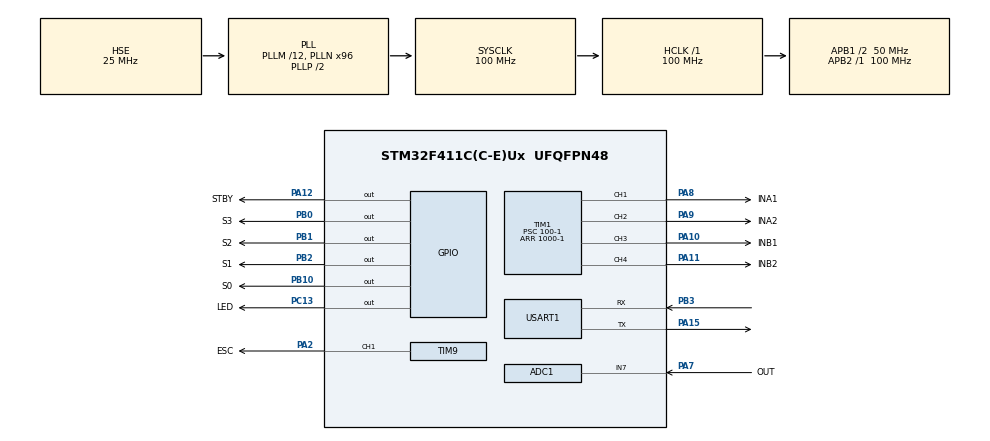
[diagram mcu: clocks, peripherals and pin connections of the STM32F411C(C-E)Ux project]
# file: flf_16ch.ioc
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ADC1.Channel-2\#ChannelRegularConversion=ADC_CHANNEL_7
ADC1.ExternalTrigConv=ADC_SOFTWARE_START
ADC1.NbrOfConversionFlag=1
ADC1.Rank-2\#ChannelRegularConversion=1
ADC1.SamplingTime-2\#ChannelRegularConversion=ADC_SAMPLETIME_84CYCLES
ADC1.master=1
Dma.ADC1.0.Direction=DMA_PERIPH_TO_MEMORY
Dma.ADC1.0.FIFOMode=DMA_FIFOMODE_DISABLE
Dma.ADC1.0.Instance=DMA2_Stream0
Dma.ADC1.0.MemDataAlignment=DMA_MDATAALIGN_HALFWORD
Dma.ADC1.0.MemInc=DMA_MINC_ENABLE
Dma.ADC1.0.Mode=DMA_CIRCULAR
Dma.ADC1.0.PeriphDataAlignment=DMA_PDATAALIGN_HALFWORD
Dma.ADC1.0.PeriphInc=DMA_PINC_DISABLE
Dma.ADC1.0.Priority=DMA_PRIORITY_LOW
Dma.Request0=ADC1
Mcu.Family=STM32F4
Mcu.Name=STM32F411C(C-E)Ux
Mcu.Package=UFQFPN48
NVIC.ADC_IRQn=true\:0\:0\:false\:false\:true\:true\:true\:true
NVIC.DMA2_Stream0_IRQn=true\:0\:0\:false\:false\:true\:false\:true\:true
NVIC.PriorityGroup=NVIC_PRIORITYGROUP_4
NVIC.TIM3_IRQn=true\:0\:0\:false\:false\:true\:true\:true\:true
NVIC.TIM4_IRQn=true\:0\:0\:false\:false\:true\:true\:true\:true
PA10.GPIO_Label=INB1
PA10.Signal=S_TIM1_CH3
PA11.GPIO_Label=INB2
PA11.Signal=S_TIM1_CH4
PA12.GPIO_Label=STBY
PA12.PinState=GPIO_PIN_RESET
PA12.Signal=GPIO_Output
PA15.Mode=Asynchronous
PA15.Signal=USART1_TX
PA2.GPIO_Label=ESC
PA2.Signal=S_TIM9_CH1
PA7.GPIO_Label=OUT
PA7.Signal=ADCx_IN7
PA8.GPIO_Label=INA1
PA8.Signal=S_TIM1_CH1
PA9.GPIO_Label=INA2
PA9.Signal=S_TIM1_CH2
PB0.GPIO_Label=S3
PB0.Signal=GPIO_Output
PB1.GPIO_Label=S2
PB1.Signal=GPIO_Output
PB10.GPIO_Label=S0
PB10.Signal=GPIO_Output
PB2.GPIO_Label=S1
PB2.Signal=GPIO_Output
PB3.Mode=Asynchronous
PB3.Signal=USART1_RX
PC13-ANTI_TAMP.GPIO_Label=LED
PC13-ANTI_TAMP.PinState=GPIO_PIN_SET
PC13-ANTI_TAMP.Signal=GPIO_Output
PH0\ -\ OSC_IN.Mode=HSE-External-Oscillator
PH0\ -\ OSC_IN.Signal=RCC_OSC_IN
PH1\ -\ OSC_OUT.Mode=HSE-External-Oscillator
PH1\ -\ OSC_OUT.Signal=RCC_OSC_OUT
ProjectManager.HeapSize=0x200
ProjectManager.StackSize=0x400
ProjectManager.TargetToolchain=STM32CubeIDE
RCC.48MHZClocksFreq_Value=50000000
RCC.AHBFreq_Value=100000000
RCC.APB1CLKDivider=RCC_HCLK_DIV2
RCC.APB1Freq_Value=50000000
RCC.APB1TimFreq_Value=100000000
RCC.APB2Freq_Value=100000000
RCC.APB2TimFreq_Value=100000000
RCC.CortexFreq_Value=100000000
RCC.HCLKFreq_Value=100000000
RCC.HSE_VALUE=25000000
RCC.HSI_VALUE=16000000
RCC.LSE_VALUE=32768
RCC.PLLM=12
RCC.PLLN=96
RCC.PLLSourceVirtual=RCC_PLLSOURCE_HSE
RCC.SYSCLKFreq_VALUE=100000000
RCC.SYSCLKSource=RCC_SYSCLKSOURCE_PLLCLK
RCC.VCOOutputFreq_Value=200000000
SH.ADCx_IN7.0=ADC1_IN7,IN7
SH.S_TIM1_CH1.0=TIM1_CH1,PWM Generation1 CH1
SH.S_TIM1_CH2.0=TIM1_CH2,PWM Generation2 CH2
SH.S_TIM1_CH3.0=TIM1_CH3,PWM Generation3 CH3
SH.S_TIM1_CH4.0=TIM1_CH4,PWM Generation4 CH4
SH.S_TIM9_CH1.0=TIM9_CH1,PWM Generation1 CH1
TIM1.AutoReloadPreload=TIM_AUTORELOAD_PRELOAD_ENABLE
TIM1.Channel-PWM\ Generation1\ CH1=TIM_CHANNEL_1
TIM1.Channel-PWM\ Generation2\ CH2=TIM_CHANNEL_2
TIM1.Channel-PWM\ Generation3\ CH3=TIM_CHANNEL_3
TIM1.Channel-PWM\ Generation4\ CH4=TIM_CHANNEL_4
TIM1.Period=1000-1
TIM1.Prescaler=100-1
TIM3.AutoReloadPreload=TIM_AUTORELOAD_PRELOAD_ENABLE
TIM3.Period=100-1
TIM3.Prescaler=100-1
TIM4.AutoReloadPreload=TIM_AUTORELOAD_PRELOAD_ENABLE
TIM4.Period=2000-1
TIM4.Prescaler=100-1
TIM9.Channel-PWM\ Generation1\ CH1=TIM_CHANNEL_1
TIM9.Period=20000-1
TIM9.Prescaler=100-1
USART1.VirtualMode=VM_ASYNC
VP_TIM1_VS_ClockSourceINT.Mode=Internal
VP_TIM3_VS_ClockSourceINT.Mode=Internal
VP_TIM4_VS_ClockSourceINT.Mode=Internal
VP_TIM9_VS_ClockSourceINT.Mode=Internal
board=custom

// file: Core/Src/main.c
/* USER CODE BEGIN Header */
/**
  ******************************************************************************
  * @file           : main.c
  * @brief          : Main program body
  ******************************************************************************
  * @attention
  *
  * Copyright (c) 2025 STMicroelectronics.
  * All rights reserved.
  *
  * This software is licensed under terms that can be found in the LICENSE file
  * in the root directory of this software component.
  * If no LICENSE file comes with this software, it is provided AS-IS.
  *
  ******************************************************************************
  */
/* USER CODE END Header */
#include "main.h"

/* USER CODE BEGIN Includes */
#include <stdio.h>
#include <string.h>

/* USER CODE END Includes */

ADC_HandleTypeDef hadc1;
DMA_HandleTypeDef hdma_adc1;

TIM_HandleTypeDef htim1;
TIM_HandleTypeDef htim3;
TIM_HandleTypeDef htim4;
TIM_HandleTypeDef htim9;

UART_HandleTypeDef huart1;

/* USER CODE BEGIN PV */

#define NUM_SENSORS 16
#define CALIB_SAMPLES 50
#define MAX(a, b) ((a) > (b) ? (a) : (b))
#define MIN(a, b) ((a) < (b) ? (a) : (b))

#define BASE_SPEED 500         // Base PWM value
#define MAX_SPEED 900          // Maximum PWM value
#define MIN_SPEED 300          // Minimum PWM value

#define KP 20.0f
#define KI 0.0f
#define KD 0.0f

volatile float integral = 0.0f;
volatile float last_error = 0.0f;
volatile int16_t current_position = 0;
volatile uint8_t line_detected = 0;

volatile uint16_t adc_buffers[2][NUM_SENSORS] = {0};
volatile uint16_t *adc_buffer_ptrs[2] = {
    adc_buffers[0],
    adc_buffers[1]
};
volatile uint8_t adc_buffer_write_ptr_index = 0;
volatile uint8_t adc_buffer_read_ptr_index = 1;
volatile uint8_t current_sensor_index = 0;
volatile uint16_t adc_dma_single_value;
const uint16_t sensor_weights[16] = {-7, -6, -5, -4, -3, -2, -1, 0, 1, 2, 3, 4, 5, 6, 7,0};
volatile uint16_t sensor_thresholds[16]= {0};
const float dt = 0.002f;

volatile uint8_t is_running=0;

/* USER CODE END PV */

void SystemClock_Config(void);
static void MX_GPIO_Init(void);
static void MX_DMA_Init(void);
static void MX_ADC1_Init(void);
static void MX_TIM1_Init(void);
static void MX_TIM3_Init(void);
static void MX_USART1_UART_Init(void);
static void MX_TIM4_Init(void);
static void MX_TIM9_Init(void);

/* USER CODE BEGIN 0 */

void setMuxChannel(uint8_t ch)
{
    if(ch >= 16) return;

    switch(ch)
    {
        case 0:
            HAL_GPIO_WritePin(GPIOB, S0_Pin, GPIO_PIN_RESET);
            HAL_GPIO_WritePin(GPIOB, S1_Pin, GPIO_PIN_RESET);
            HAL_GPIO_WritePin(GPIOB, S2_Pin, GPIO_PIN_RESET);
            HAL_GPIO_WritePin(GPIOB, S3_Pin, GPIO_PIN_RESET);
            break;

        case 1:
            HAL_GPIO_WritePin(GPIOB, S0_Pin, GPIO_PIN_SET);
            HAL_GPIO_WritePin(GPIOB, S1_Pin, GPIO_PIN_RESET);
            HAL_GPIO_WritePin(GPIOB, S2_Pin, GPIO_PIN_RESET);
            HAL_GPIO_WritePin(GPIOB, S3_Pin, GPIO_PIN_RESET);
            break;

        case 2:
            HAL_GPIO_WritePin(GPIOB, S0_Pin, GPIO_PIN_RESET);
            HAL_GPIO_WritePin(GPIOB, S1_Pin, GPIO_PIN_SET);
            HAL_GPIO_WritePin(GPIOB, S2_Pin, GPIO_PIN_RESET);
            HAL_GPIO_WritePin(GPIOB, S3_Pin, GPIO_PIN_RESET);
            break;

        case 3:
            HAL_GPIO_WritePin(GPIOB, S0_Pin, GPIO_PIN_SET);
            HAL_GPIO_WritePin(GPIOB, S1_Pin, GPIO_PIN_SET);
            HAL_GPIO_WritePin(GPIOB, S2_Pin, GPIO_PIN_RESET);
            HAL_GPIO_WritePin(GPIOB, S3_Pin, GPIO_PIN_RESET);
            break;

        case 4:
            HAL_GPIO_WritePin(GPIOB, S0_Pin, GPIO_PIN_RESET);
            HAL_GPIO_WritePin(GPIOB, S1_Pin, GPIO_PIN_RESET);
            HAL_GPIO_WritePin(GPIOB, S2_Pin, GPIO_PIN_SET);
            HAL_GPIO_WritePin(GPIOB, S3_Pin, GPIO_PIN_RESET);
            break;

        case 5:
            HAL_GPIO_WritePin(GPIOB, S0_Pin, GPIO_PIN_SET);
            HAL_GPIO_WritePin(GPIOB, S1_Pin, GPIO_PIN_RESET);
            HAL_GPIO_WritePin(GPIOB, S2_Pin, GPIO_PIN_SET);
            HAL_GPIO_WritePin(GPIOB, S3_Pin, GPIO_PIN_RESET);
            break;

        case 6:
            HAL_GPIO_WritePin(GPIOB, S0_Pin, GPIO_PIN_RESET);
            HAL_GPIO_WritePin(GPIOB, S1_Pin, GPIO_PIN_SET);
            HAL_GPIO_WritePin(GPIOB, S2_Pin, GPIO_PIN_SET);
            HAL_GPIO_WritePin(GPIOB, S3_Pin, GPIO_PIN_RESET);
            break;

        case 7:
            HAL_GPIO_WritePin(GPIOB, S0_Pin, GPIO_PIN_SET);
            HAL_GPIO_WritePin(GPIOB, S1_Pin, GPIO_PIN_SET);
            HAL_GPIO_WritePin(GPIOB, S2_Pin, GPIO_PIN_SET);
            HAL_GPIO_WritePin(GPIOB, S3_Pin, GPIO_PIN_RESET);
            break;

        case 8:
            HAL_GPIO_WritePin(GPIOB, S0_Pin, GPIO_PIN_RESET);
            HAL_GPIO_WritePin(GPIOB, S1_Pin, GPIO_PIN_RESET);
            HAL_GPIO_WritePin(GPIOB, S2_Pin, GPIO_PIN_RESET);
            HAL_GPIO_WritePin(GPIOB, S3_Pin, GPIO_PIN_SET);
            break;

        case 9:
            HAL_GPIO_WritePin(GPIOB, S0_Pin, GPIO_PIN_SET);
            HAL_GPIO_WritePin(GPIOB, S1_Pin, GPIO_PIN_RESET);
            HAL_GPIO_WritePin(GPIOB, S2_Pin, GPIO_PIN_RESET);
            HAL_GPIO_WritePin(GPIOB, S3_Pin, GPIO_PIN_SET);
            break;

        case 10:
            HAL_GPIO_WritePin(GPIOB, S0_Pin, GPIO_PIN_RESET);
            HAL_GPIO_WritePin(GPIOB, S1_Pin, GPIO_PIN_SET);
            HAL_GPIO_WritePin(GPIOB, S2_Pin, GPIO_PIN_RESET);
            HAL_GPIO_WritePin(GPIOB, S3_Pin, GPIO_PIN_SET);
            break;

        case 11:
            HAL_GPIO_WritePin(GPIOB, S0_Pin, GPIO_PIN_SET);
            HAL_GPIO_WritePin(GPIOB, S1_Pin, GPIO_PIN_SET);
            HAL_GPIO_WritePin(GPIOB, S2_Pin, GPIO_PIN_RESET);
            HAL_GPIO_WritePin(GPIOB, S3_Pin, GPIO_PIN_SET);
            break;

        case 12:
            HAL_GPIO_WritePin(GPIOB, S0_Pin, GPIO_PIN_RESET);
            HAL_GPIO_WritePin(GPIOB, S1_Pin, GPIO_PIN_RESET);
            HAL_GPIO_WritePin(GPIOB, S2_Pin, GPIO_PIN_SET);
            HAL_GPIO_WritePin(GPIOB, S3_Pin, GPIO_PIN_SET);
            break;

        case 13:
            HAL_GPIO_WritePin(GPIOB, S0_Pin, GPIO_PIN_SET);
            HAL_GPIO_WritePin(GPIOB, S1_Pin, GPIO_PIN_RESET);
            HAL_GPIO_WritePin(GPIOB, S2_Pin, GPIO_PIN_SET);
            HAL_GPIO_WritePin(GPIOB, S3_Pin, GPIO_PIN_SET);
            break;

        case 14:
            HAL_GPIO_WritePin(GPIOB, S0_Pin, GPIO_PIN_RESET);
            HAL_GPIO_WritePin(GPIOB, S1_Pin, GPIO_PIN_SET);
            HAL_GPIO_WritePin(GPIOB, S2_Pin, GPIO_PIN_SET);
            HAL_GPIO_WritePin(GPIOB, S3_Pin, GPIO_PIN_SET);
            break;

        case 15:
            HAL_GPIO_WritePin(GPIOB, S0_Pin, GPIO_PIN_SET);
            HAL_GPIO_WritePin(GPIOB, S1_Pin, GPIO_PIN_SET);
            HAL_GPIO_WritePin(GPIOB, S2_Pin, GPIO_PIN_SET);
            HAL_GPIO_WritePin(GPIOB, S3_Pin, GPIO_PIN_SET);
            break;

        default:
            break;
    }
}

int16_t calculate_line_position(void) {
    uint32_t weighted_sum = 0;
    uint8_t sensors_on_line = 0;

    volatile uint16_t *sensor_data = adc_buffer_ptrs[adc_buffer_read_ptr_index];

    for(int i = 0; i < NUM_SENSORS; i++) {
        if(sensor_data[i] > sensor_thresholds[i]) {
        	weighted_sum+=sensor_weights[i];
        	sensors_on_line++;
        }
    }

    if (!sensors_on_line){
    	line_detected=0;
    }
    else{
    	line_detected=1;
    }

    return weighted_sum/sensors_on_line;
}

void set_motor_speeds(int16_t speed1, int16_t speed2) {
    uint16_t pwm1, pwm2;

    if(speed1 >= 0) {
        pwm1 = (uint16_t)MIN(speed1, 999);
        __HAL_TIM_SET_COMPARE(&htim1, TIM_CHANNEL_1, pwm1);
        __HAL_TIM_SET_COMPARE(&htim1, TIM_CHANNEL_2, 0);
    } else {
        pwm1 = (uint16_t)MIN(-speed1, 999);
        __HAL_TIM_SET_COMPARE(&htim1, TIM_CHANNEL_1, 0);
        __HAL_TIM_SET_COMPARE(&htim1, TIM_CHANNEL_2, pwm1);
    }

    if(speed2 >= 0) {
        pwm2 = (uint16_t)MIN(speed2, 999);
        __HAL_TIM_SET_COMPARE(&htim1, TIM_CHANNEL_3, pwm2);
        __HAL_TIM_SET_COMPARE(&htim1, TIM_CHANNEL_4, 0);
    } else {
        pwm2 = (uint16_t)MIN(-speed2, 999);
        __HAL_TIM_SET_COMPARE(&htim1, TIM_CHANNEL_3, 0);
        __HAL_TIM_SET_COMPARE(&htim1, TIM_CHANNEL_4, pwm2);
    }
}

void main_pid_loop(void) {
	if (!is_running){
		return;
	}

	int16_t left_speed, right_speed;

    current_position = calculate_line_position();

    float error = (float)current_position;

    float proportional = KP * error;

    integral += error*dt;

    if(integral > 1000.0f) integral = 1000.0f;
    if(integral < -1000.0f) integral = -1000.0f;
    float integral_term = KI * integral;

    float derivative = KD * (error - last_error) / dt;
    last_error = error;

    float pid_output = proportional + integral_term + derivative;

    if(!line_detected) {
    	integral = 0.0f;
        if(current_position > 0) {
            left_speed = BASE_SPEED / 2;
            right_speed = -BASE_SPEED / 2;
        } else {
            left_speed = -BASE_SPEED / 2;
            right_speed = BASE_SPEED / 2;
        }
    } else {
        left_speed = BASE_SPEED - (int16_t)pid_output;
        right_speed = BASE_SPEED + (int16_t)pid_output;
        left_speed = MAX(MIN_SPEED, MIN(left_speed, MAX_SPEED));
        right_speed = MAX(MIN_SPEED, MIN(right_speed, MAX_SPEED));
    }

    set_motor_speeds(left_speed, right_speed);

}

void send_ir_data(void){
    char buffer[256];

    snprintf(buffer, sizeof(buffer),
             "%u,%u,%u,%u,%u,%u,%u,%u,%u,%u,%u,%u,%u,%u,%u,%u\r\n",
			 sensor_thresholds[0], sensor_thresholds[1], sensor_thresholds[2], sensor_thresholds[3],
			 sensor_thresholds[4], sensor_thresholds[5], sensor_thresholds[6], sensor_thresholds[7],
			 sensor_thresholds[8], sensor_thresholds[9], sensor_thresholds[10], sensor_thresholds[11],
			 sensor_thresholds[12], sensor_thresholds[13], sensor_thresholds[14], sensor_thresholds[15]);

    HAL_UART_Transmit(&huart1, (uint8_t*)buffer, strlen(buffer), HAL_MAX_DELAY);
}

void calibrate(void){
	    int calib_data[CALIB_SAMPLES][NUM_SENSORS];
	    int i, j;

	    set_motor_speeds(700,-700);
	    for (i = 0; i < CALIB_SAMPLES; i++) {
	        for (j = 0; j < NUM_SENSORS; j++) {
	            calib_data[i][j] = adc_buffer_ptrs[adc_buffer_read_ptr_index][j];
	            HAL_Delay(10);
	        }
	        HAL_Delay(10);
	    }
	    set_motor_speeds(0,0);

	    for (j = 0; j < NUM_SENSORS; j++) {
	        int min_val = 4095;
	        int max_val = 0;

	        for (i = 0; i < CALIB_SAMPLES; i++) {
	            int value = calib_data[i][j];

	            if (value < min_val) min_val = value;
	            if (value > max_val) max_val = value;
	        }

	        sensor_thresholds[j] = (min_val + max_val) / 2;
	    }
	}

void reset_pid_variables(void) {
    integral = 0.0f;
    last_error = 0.0f;
    current_position = 0;
    line_detected = 0;
}

void init_all_variables(void) {
    integral = 0.0f;
    last_error = 0.0f;
    current_position = 0;
    line_detected = 0;

    is_running = 0;

    adc_buffer_write_ptr_index = 0;
    adc_buffer_read_ptr_index = 1;
    current_sensor_index = 0;
    adc_dma_single_value = 0;

    for(int i = 0; i < 2; i++) {
        for(int j = 0; j < NUM_SENSORS; j++) {
            adc_buffers[i][j] = 0;
        }
    }

    for(int i = 0; i < NUM_SENSORS; i++) {
        sensor_thresholds[i] = 2047;
    }

    adc_buffer_ptrs[0] = adc_buffers[0];
    adc_buffer_ptrs[1] = adc_buffers[1];
}

void HAL_TIM_PeriodElapsedCallback(TIM_HandleTypeDef* htim)
{
    if(htim->Instance == TIM3)
    {
        HAL_ADC_Start_DMA(&hadc1, (uint32_t*)&adc_dma_single_value, 1);
    }
    else if(htim->Instance == TIM4)
    {
    	main_pid_loop();
    }
}

void HAL_ADC_ConvCpltCallback(ADC_HandleTypeDef* hadc)
{
    if(hadc->Instance == ADC1)
    {
        adc_buffer_ptrs[adc_buffer_write_ptr_index][current_sensor_index] = adc_dma_single_value;

        current_sensor_index++;

        if(current_sensor_index >= NUM_SENSORS)
        {

            current_sensor_index = 0;

            adc_buffer_write_ptr_index ^= 1;
            adc_buffer_read_ptr_index ^= 1;
        }

        setMuxChannel(current_sensor_index);
    }
}

void HAL_GPIO_EXTI_Callback(uint16_t GPIO_Pin)
{

}

/* USER CODE END 0 */

int main(void)
{

  /* USER CODE BEGIN 1 */
	init_all_variables();
	setMuxChannel(0);

  /* USER CODE END 1 */

  /* MCU Configuration--------------------------------------------------------*/

  /* Reset of all peripherals, Initializes the Flash interface and the Systick. */
  HAL_Init();

  /* Configure the system clock */
  SystemClock_Config();

  /* Initialize all configured peripherals */
  MX_GPIO_Init();
  MX_DMA_Init();
  MX_ADC1_Init();
  MX_TIM1_Init();
  MX_TIM3_Init();
  MX_USART1_UART_Init();
  MX_TIM4_Init();
  MX_TIM9_Init();
  /* USER CODE BEGIN 2 */

  HAL_TIM_Base_Start_IT(&htim3);
  HAL_TIM_Base_Start_IT(&htim4);
  HAL_TIM_PWM_Start(&htim1, TIM_CHANNEL_1);
  HAL_TIM_PWM_Start(&htim1, TIM_CHANNEL_2);
  HAL_TIM_PWM_Start(&htim1, TIM_CHANNEL_3);
  HAL_TIM_PWM_Start(&htim1, TIM_CHANNEL_4);

  HAL_Delay(5000);
  HAL_GPIO_WritePin(STBY_GPIO_Port,STBY_Pin,GPIO_PIN_SET);
  calibrate();

  HAL_Delay(10000);
  send_ir_data();
  /* USER CODE END 2 */

  /* Infinite loop */
  while (1)
  {

  }
}

void SystemClock_Config(void)
{
  RCC_OscInitTypeDef RCC_OscInitStruct = {0};
  RCC_ClkInitTypeDef RCC_ClkInitStruct = {0};

  /** Configure the main internal regulator output voltage
  */
  __HAL_RCC_PWR_CLK_ENABLE();
  __HAL_PWR_VOLTAGESCALING_CONFIG(PWR_REGULATOR_VOLTAGE_SCALE1);

  /** Initializes the RCC Oscillators according to the specified parameters
  * in the RCC_OscInitTypeDef structure.
  */
  RCC_OscInitStruct.OscillatorType = RCC_OSCILLATORTYPE_HSE;
  RCC_OscInitStruct.HSEState = RCC_HSE_ON;
  RCC_OscInitStruct.PLL.PLLState = RCC_PLL_ON;
  RCC_OscInitStruct.PLL.PLLSource = RCC_PLLSOURCE_HSE;
  RCC_OscInitStruct.PLL.PLLM = 12;
  RCC_OscInitStruct.PLL.PLLN = 96;
  RCC_OscInitStruct.PLL.PLLP = RCC_PLLP_DIV2;
  RCC_OscInitStruct.PLL.PLLQ = 4;
  if (HAL_RCC_OscConfig(&RCC_OscInitStruct) != HAL_OK)
  {
    Error_Handler();
  }

  /** Initializes the CPU, AHB and APB buses clocks
  */
  RCC_ClkInitStruct.ClockType = RCC_CLOCKTYPE_HCLK|RCC_CLOCKTYPE_SYSCLK
                              |RCC_CLOCKTYPE_PCLK1|RCC_CLOCKTYPE_PCLK2;
  RCC_ClkInitStruct.SYSCLKSource = RCC_SYSCLKSOURCE_PLLCLK;
  RCC_ClkInitStruct.AHBCLKDivider = RCC_SYSCLK_DIV1;
  RCC_ClkInitStruct.APB1CLKDivider = RCC_HCLK_DIV2;
  RCC_ClkInitStruct.APB2CLKDivider = RCC_HCLK_DIV1;

  if (HAL_RCC_ClockConfig(&RCC_ClkInitStruct, FLASH_LATENCY_3) != HAL_OK)
  {
    Error_Handler();
  }
}

static void MX_ADC1_Init(void)
{

  ADC_ChannelConfTypeDef sConfig = {0};

  /** Configure the global features of the ADC (Clock, Resolution, Data Alignment and number of conversion)
  */
  hadc1.Instance = ADC1;
  hadc1.Init.ClockPrescaler = ADC_CLOCK_SYNC_PCLK_DIV4;
  hadc1.Init.Resolution = ADC_RESOLUTION_12B;
  hadc1.Init.ScanConvMode = DISABLE;
  hadc1.Init.ContinuousConvMode = DISABLE;
  hadc1.Init.DiscontinuousConvMode = DISABLE;
  hadc1.Init.ExternalTrigConvEdge = ADC_EXTERNALTRIGCONVEDGE_NONE;
  hadc1.Init.ExternalTrigConv = ADC_SOFTWARE_START;
  hadc1.Init.DataAlign = ADC_DATAALIGN_RIGHT;
  hadc1.Init.NbrOfConversion = 1;
  hadc1.Init.DMAContinuousRequests = DISABLE;
  hadc1.Init.EOCSelection = ADC_EOC_SINGLE_CONV;
  if (HAL_ADC_Init(&hadc1) != HAL_OK)
  {
    Error_Handler();
  }

  /** Configure for the selected ADC regular channel its corresponding rank in the sequencer and its sample time.
  */
  sConfig.Channel = ADC_CHANNEL_7;
  sConfig.Rank = 1;
  sConfig.SamplingTime = ADC_SAMPLETIME_84CYCLES;
  if (HAL_ADC_ConfigChannel(&hadc1, &sConfig) != HAL_OK)
  {
    Error_Handler();
  }

}

static void MX_TIM1_Init(void)
{

  TIM_ClockConfigTypeDef sClockSourceConfig = {0};
  TIM_MasterConfigTypeDef sMasterConfig = {0};
  TIM_OC_InitTypeDef sConfigOC = {0};
  TIM_BreakDeadTimeConfigTypeDef sBreakDeadTimeConfig = {0};

  htim1.Instance = TIM1;
  htim1.Init.Prescaler = 100-1;
  htim1.Init.CounterMode = TIM_COUNTERMODE_UP;
  htim1.Init.Period = 1000-1;
  htim1.Init.ClockDivision = TIM_CLOCKDIVISION_DIV1;
  htim1.Init.RepetitionCounter = 0;
  htim1.Init.AutoReloadPreload = TIM_AUTORELOAD_PRELOAD_ENABLE;
  if (HAL_TIM_Base_Init(&htim1) != HAL_OK)
  {
    Error_Handler();
  }
  sClockSourceConfig.ClockSource = TIM_CLOCKSOURCE_INTERNAL;
  if (HAL_TIM_ConfigClockSource(&htim1, &sClockSourceConfig) != HAL_OK)
  {
    Error_Handler();
  }
  if (HAL_TIM_PWM_Init(&htim1) != HAL_OK)
  {
    Error_Handler();
  }
  sMasterConfig.MasterOutputTrigger = TIM_TRGO_RESET;
  sMasterConfig.MasterSlaveMode = TIM_MASTERSLAVEMODE_DISABLE;
  if (HAL_TIMEx_MasterConfigSynchronization(&htim1, &sMasterConfig) != HAL_OK)
  {
    Error_Handler();
  }
  sConfigOC.OCMode = TIM_OCMODE_PWM1;
  sConfigOC.Pulse = 0;
  sConfigOC.OCPolarity = TIM_OCPOLARITY_HIGH;
  sConfigOC.OCNPolarity = TIM_OCNPOLARITY_HIGH;
  sConfigOC.OCFastMode = TIM_OCFAST_DISABLE;
  sConfigOC.OCIdleState = TIM_OCIDLESTATE_RESET;
  sConfigOC.OCNIdleState = TIM_OCNIDLESTATE_RESET;
  if (HAL_TIM_PWM_ConfigChannel(&htim1, &sConfigOC, TIM_CHANNEL_1) != HAL_OK)
  {
    Error_Handler();
  }
  if (HAL_TIM_PWM_ConfigChannel(&htim1, &sConfigOC, TIM_CHANNEL_2) != HAL_OK)
  {
    Error_Handler();
  }
  if (HAL_TIM_PWM_ConfigChannel(&htim1, &sConfigOC, TIM_CHANNEL_3) != HAL_OK)
  {
    Error_Handler();
  }
  if (HAL_TIM_PWM_ConfigChannel(&htim1, &sConfigOC, TIM_CHANNEL_4) != HAL_OK)
  {
    Error_Handler();
  }
  sBreakDeadTimeConfig.OffStateRunMode = TIM_OSSR_DISABLE;
  sBreakDeadTimeConfig.OffStateIDLEMode = TIM_OSSI_DISABLE;
  sBreakDeadTimeConfig.LockLevel = TIM_LOCKLEVEL_OFF;
  sBreakDeadTimeConfig.DeadTime = 0;
  sBreakDeadTimeConfig.BreakState = TIM_BREAK_DISABLE;
  sBreakDeadTimeConfig.BreakPolarity = TIM_BREAKPOLARITY_HIGH;
  sBreakDeadTimeConfig.AutomaticOutput = TIM_AUTOMATICOUTPUT_DISABLE;
  if (HAL_TIMEx_ConfigBreakDeadTime(&htim1, &sBreakDeadTimeConfig) != HAL_OK)
  {
    Error_Handler();
  }
  HAL_TIM_MspPostInit(&htim1);

}

static void MX_TIM3_Init(void)
{

  TIM_ClockConfigTypeDef sClockSourceConfig = {0};
  TIM_MasterConfigTypeDef sMasterConfig = {0};

  htim3.Instance = TIM3;
  htim3.Init.Prescaler = 100-1;
  htim3.Init.CounterMode = TIM_COUNTERMODE_UP;
  htim3.Init.Period = 100-1;
  htim3.Init.ClockDivision = TIM_CLOCKDIVISION_DIV1;
  htim3.Init.AutoReloadPreload = TIM_AUTORELOAD_PRELOAD_ENABLE;
  if (HAL_TIM_Base_Init(&htim3) != HAL_OK)
  {
    Error_Handler();
  }
  sClockSourceConfig.ClockSource = TIM_CLOCKSOURCE_INTERNAL;
  if (HAL_TIM_ConfigClockSource(&htim3, &sClockSourceConfig) != HAL_OK)
  {
    Error_Handler();
  }
  sMasterConfig.MasterOutputTrigger = TIM_TRGO_RESET;
  sMasterConfig.MasterSlaveMode = TIM_MASTERSLAVEMODE_DISABLE;
  if (HAL_TIMEx_MasterConfigSynchronization(&htim3, &sMasterConfig) != HAL_OK)
  {
    Error_Handler();
  }

}

static void MX_TIM4_Init(void)
{

  TIM_ClockConfigTypeDef sClockSourceConfig = {0};
  TIM_MasterConfigTypeDef sMasterConfig = {0};

  htim4.Instance = TIM4;
  htim4.Init.Prescaler = 100-1;
  htim4.Init.CounterMode = TIM_COUNTERMODE_UP;
  htim4.Init.Period = 2000-1;
  htim4.Init.ClockDivision = TIM_CLOCKDIVISION_DIV1;
  htim4.Init.AutoReloadPreload = TIM_AUTORELOAD_PRELOAD_ENABLE;
  if (HAL_TIM_Base_Init(&htim4) != HAL_OK)
  {
    Error_Handler();
  }
  sClockSourceConfig.ClockSource = TIM_CLOCKSOURCE_INTERNAL;
  if (HAL_TIM_ConfigClockSource(&htim4, &sClockSourceConfig) != HAL_OK)
  {
    Error_Handler();
  }
  sMasterConfig.MasterOutputTrigger = TIM_TRGO_RESET;
  sMasterConfig.MasterSlaveMode = TIM_MASTERSLAVEMODE_DISABLE;
  if (HAL_TIMEx_MasterConfigSynchronization(&htim4, &sMasterConfig) != HAL_OK)
  {
    Error_Handler();
  }

}

static void MX_TIM9_Init(void)
{

  TIM_ClockConfigTypeDef sClockSourceConfig = {0};
  TIM_OC_InitTypeDef sConfigOC = {0};

  htim9.Instance = TIM9;
  htim9.Init.Prescaler = 100-1;
  htim9.Init.CounterMode = TIM_COUNTERMODE_UP;
  htim9.Init.Period = 20000-1;
  htim9.Init.ClockDivision = TIM_CLOCKDIVISION_DIV1;
  htim9.Init.AutoReloadPreload = TIM_AUTORELOAD_PRELOAD_DISABLE;
  if (HAL_TIM_Base_Init(&htim9) != HAL_OK)
  {
    Error_Handler();
  }
  sClockSourceConfig.ClockSource = TIM_CLOCKSOURCE_INTERNAL;
  if (HAL_TIM_ConfigClockSource(&htim9, &sClockSourceConfig) != HAL_OK)
  {
    Error_Handler();
  }
  if (HAL_TIM_PWM_Init(&htim9) != HAL_OK)
  {
    Error_Handler();
  }
  sConfigOC.OCMode = TIM_OCMODE_PWM1;
  sConfigOC.Pulse = 0;
  sConfigOC.OCPolarity = TIM_OCPOLARITY_HIGH;
  sConfigOC.OCFastMode = TIM_OCFAST_DISABLE;
  if (HAL_TIM_PWM_ConfigChannel(&htim9, &sConfigOC, TIM_CHANNEL_1) != HAL_OK)
  {
    Error_Handler();
  }
  HAL_TIM_MspPostInit(&htim9);

}

static void MX_USART1_UART_Init(void)
{

  huart1.Instance = USART1;
  huart1.Init.BaudRate = 115200;
  huart1.Init.WordLength = UART_WORDLENGTH_8B;
  huart1.Init.StopBits = UART_STOPBITS_1;
  huart1.Init.Parity = UART_PARITY_NONE;
  huart1.Init.Mode = UART_MODE_TX_RX;
  huart1.Init.HwFlowCtl = UART_HWCONTROL_NONE;
  huart1.Init.OverSampling = UART_OVERSAMPLING_16;
  if (HAL_UART_Init(&huart1) != HAL_OK)
  {
    Error_Handler();
  }

}

static void MX_DMA_Init(void)
{

  /* DMA controller clock enable */
  __HAL_RCC_DMA2_CLK_ENABLE();

  /* DMA interrupt init */
  /* DMA2_Stream0_IRQn interrupt configuration */
  HAL_NVIC_SetPriority(DMA2_Stream0_IRQn, 0, 0);
  HAL_NVIC_EnableIRQ(DMA2_Stream0_IRQn);

}

static void MX_GPIO_Init(void)
{
  GPIO_InitTypeDef GPIO_InitStruct = {0};

  /* GPIO Ports Clock Enable */
  __HAL_RCC_GPIOC_CLK_ENABLE();
  __HAL_RCC_GPIOH_CLK_ENABLE();
  __HAL_RCC_GPIOA_CLK_ENABLE();
  __HAL_RCC_GPIOB_CLK_ENABLE();

  /*Configure GPIO pin Output Level */
  HAL_GPIO_WritePin(LED_GPIO_Port, LED_Pin, GPIO_PIN_SET);

  /*Configure GPIO pin Output Level */
  HAL_GPIO_WritePin(GPIOB, S3_Pin|S2_Pin|S1_Pin|S0_Pin, GPIO_PIN_RESET);

  /*Configure GPIO pin Output Level */
  HAL_GPIO_WritePin(STBY_GPIO_Port, STBY_Pin, GPIO_PIN_RESET);

  /*Configure GPIO pin : LED_Pin */
  GPIO_InitStruct.Pin = LED_Pin;
  GPIO_InitStruct.Mode = GPIO_MODE_OUTPUT_PP;
  GPIO_InitStruct.Pull = GPIO_NOPULL;
  GPIO_InitStruct.Speed = GPIO_SPEED_FREQ_LOW;
  HAL_GPIO_Init(LED_GPIO_Port, &GPIO_InitStruct);

  /*Configure GPIO pins : S3_Pin S2_Pin S1_Pin S0_Pin */
  GPIO_InitStruct.Pin = S3_Pin|S2_Pin|S1_Pin|S0_Pin;
  GPIO_InitStruct.Mode = GPIO_MODE_OUTPUT_PP;
  GPIO_InitStruct.Pull = GPIO_NOPULL;
  GPIO_InitStruct.Speed = GPIO_SPEED_FREQ_LOW;
  HAL_GPIO_Init(GPIOB, &GPIO_InitStruct);

  /*Configure GPIO pin : STBY_Pin */
  GPIO_InitStruct.Pin = STBY_Pin;
  GPIO_InitStruct.Mode = GPIO_MODE_OUTPUT_PP;
  GPIO_InitStruct.Pull = GPIO_NOPULL;
  GPIO_InitStruct.Speed = GPIO_SPEED_FREQ_LOW;
  HAL_GPIO_Init(STBY_GPIO_Port, &GPIO_InitStruct);

  /* EXTI interrupt init*/
  HAL_NVIC_SetPriority(EXTI9_5_IRQn, 0, 0);
  HAL_NVIC_EnableIRQ(EXTI9_5_IRQn);

  HAL_NVIC_SetPriority(EXTI15_10_IRQn, 0, 0);
  HAL_NVIC_EnableIRQ(EXTI15_10_IRQn);

}

void Error_Handler(void)
{
  __disable_irq();
  while (1)
  {
  }
}
